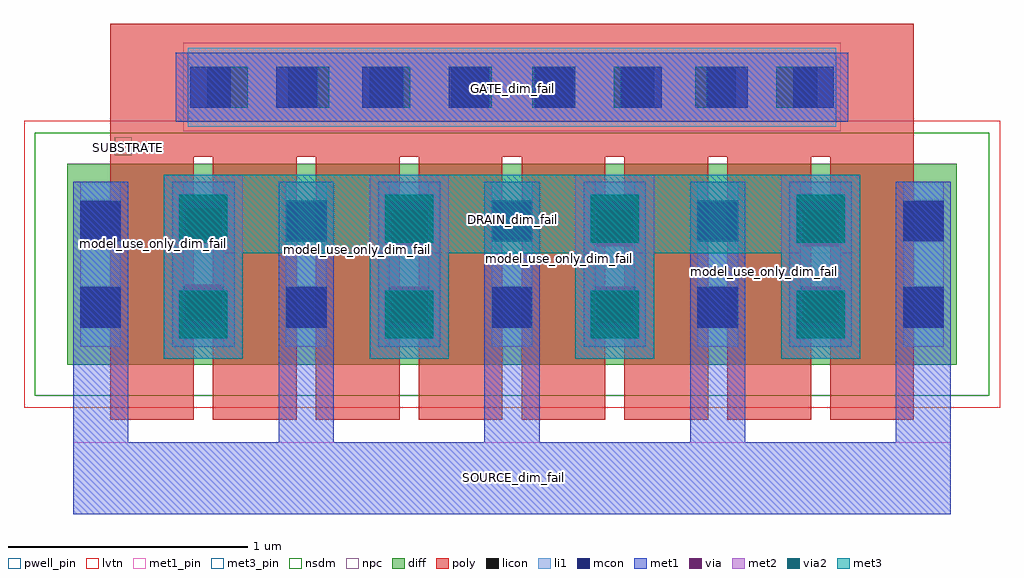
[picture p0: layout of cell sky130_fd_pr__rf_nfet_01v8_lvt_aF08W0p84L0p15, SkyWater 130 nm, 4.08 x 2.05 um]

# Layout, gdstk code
import gdstk
lib = gdstk.Library(unit=1e-6, precision=1e-09)
def R(c, l, rs):  # rectangles x0, y0, x1, y1
    for r in rs: c.add(gdstk.rectangle(r[:2], r[2:], *l))
def A(c, l, x, y, w, h, nx, ny, dx, dy):  # array of equal rectangles
    R(c, l, [(x+i*dx, y+j*dy, x+i*dx+w, y+j*dy+h) for i in range(nx) for j in range(ny)])
def P(c, l, *ps):  # polygons
    for p in ps: c.add(gdstk.Polygon(p, *l))
diff = (65, 20)
poly = (66, 20)
licon = (66, 44)
li1 = (67, 20)
mcon = (67, 44)
met1_pin = (68, 16)
met1 = (68, 20)
via = (68, 44)
met2 = (69, 20)
via2 = (69, 44)
met3_pin = (70, 16)
met3 = (70, 20)
nsdm = (93, 44)
npc = (95, 20)
pwell_pin = (122, 16)
lvtn = (125, 44)

sky130_fd_pr__rf_nfet_01 = lib.new_cell('sky130_fd_pr__rf_nfet_01v8_lvt_aF08W0p84L0p15')
A(sky130_fd_pr__rf_nfet_01, diff, 0.18, 0.18, 0.28, 0.84, 3, 1, 0.43, 0)
A(sky130_fd_pr__rf_nfet_01, diff, 0.21, 0.18, 0.25, 0.84, 4, 1, 0.86, 0)
A(sky130_fd_pr__rf_nfet_01, diff, 0.46, 0.18, 0.15, 0.84, 8, 1, 0.43, 0)
A(sky130_fd_pr__rf_nfet_01, diff, 1.04, 0.18, 0.28, 0.84, 3, 1, 0.43, 0)
A(sky130_fd_pr__rf_nfet_01, diff, 1.9, 0.18, 0.28, 0.84, 3, 1, 0.43, 0)
A(sky130_fd_pr__rf_nfet_01, diff, 2.76, 0.18, 0.28, 0.84, 3, 1, 0.43, 0)
R(sky130_fd_pr__rf_nfet_01, diff, [(3.62,0.18,3.9,1.02), (3.62,0.18,3.87,1.02), (3.65,0.18,3.9,1.02)])
P(sky130_fd_pr__rf_nfet_01, poly, [(0.36,-0.05),(0.36,1.605),(3.72,1.605),(3.72,-0.05),(3.37,-0.05),(3.37,1.05),(3.29,1.05),(3.29,-0.05),(2.94,-0.05),(2.94,1.05),(2.86,1.05),(2.86,-0.05),(2.51,-0.05),(2.51,1.05),(2.43,1.05),(2.43,-0.05),(2.08,-0.05),(2.08,1.05),(2,1.05),(2,-0.05),(1.65,-0.05),(1.65,1.05),(1.57,1.05),(1.57,-0.05),(1.22,-0.05),(1.22,1.05),(1.14,1.05),(1.14,-0.05),(0.79,-0.05),(0.79,1.05),(0.71,1.05),(0.71,-0.05)])
A(sky130_fd_pr__rf_nfet_01, licon, 0.235, 0.335, 0.17, 0.17, 9, 2, 0.43, 0.36)
A(sky130_fd_pr__rf_nfet_01, licon, 0.765, 1.255, 0.17, 0.17, 8, 1, 0.34, 0)
A(sky130_fd_pr__rf_nfet_01, li1, 0.235, 0.255, 0.17, 0.69, 9, 1, 0.43, 0)
R(sky130_fd_pr__rf_nfet_01, li1, [(0.685,1.175,3.395,1.505), (0.695,1.255,3.385,1.425)])
A(sky130_fd_pr__rf_nfet_01, mcon, 0.235, 0.335, 0.17, 0.17, 9, 2, 0.43, 0.36)
A(sky130_fd_pr__rf_nfet_01, mcon, 0.695, 1.255, 0.17, 0.17, 8, 1, 0.36, 0)
R(sky130_fd_pr__rf_nfet_01, met1_pin, [(0.205,-0.445,3.875,-0.145), (0.635,1.195,3.445,1.485)])
A(sky130_fd_pr__rf_nfet_01, met1, 0.62, 0.275, 0.26, 0.65, 4, 1, 0.86, 0)
R(sky130_fd_pr__rf_nfet_01, met1, [(0.635,1.195,3.445,1.485)])
A(sky130_fd_pr__rf_nfet_01, via, 1.535, 0.355, 0.15, 0.15, 3, 2, 0.86, 0.32)
R(sky130_fd_pr__rf_nfet_01, via, [(0.675,0.365,0.825,0.515), (0.675,0.685,0.825,0.835)])
A(sky130_fd_pr__rf_nfet_01, met2, 0.585, 0.205, 0.33, 0.77, 4, 1, 0.86, 0)
A(sky130_fd_pr__rf_nfet_01, met2, 0.62, 0.27, 0.26, 0.64, 4, 1, 0.86, 0)
A(sky130_fd_pr__rf_nfet_01, via2, 0.65, 0.29, 0.2, 0.2, 4, 2, 0.86, 0.4)
R(sky130_fd_pr__rf_nfet_01, met3_pin, [(0.585,0.645,3.495,0.975)])
A(sky130_fd_pr__rf_nfet_01, met3, 0.585, 0.205, 0.33, 0.77, 4, 1, 0.86, 0)
A(sky130_fd_pr__rf_nfet_01, nsdm, 0.21, 0.05, 0.4, 1.1, 7, 1, 0.43, 0)
A(sky130_fd_pr__rf_nfet_01, nsdm, 0.48, 0.05, 0.54, 1.1, 7, 1, 0.43, 0)
R(sky130_fd_pr__rf_nfet_01, nsdm, [(0.045,0.05,0.59,1.15), (3.22,0.05,3.87,1.15), (3.49,0.05,4.035,1.15)])
R(sky130_fd_pr__rf_nfet_01, npc, [(0.665,1.155,3.415,1.525)])
R(sky130_fd_pr__rf_nfet_01, pwell_pin, [(0.38,1.055,0.45,1.13)])
R(sky130_fd_pr__rf_nfet_01, lvtn, [(0,0,4.08,1.2)])
sky130_fd_pr__rf_nfet_01.add(gdstk.FlexPath([(0.585,0.81),(3.495,0.81)], 0.33, ends="flush", simple_path=True, layer=70, datatype=20))  # met3
sky130_fd_pr__rf_nfet_01.add(gdstk.FlexPath([(2.9,0.945),(2.9,-0.445)], 0.23, ends="flush", simple_path=True, layer=68, datatype=20))  # met1
sky130_fd_pr__rf_nfet_01.add(gdstk.FlexPath([(3.76,0.945),(3.76,-0.445)], 0.23, ends="flush", simple_path=True, layer=68, datatype=20))  # met1
sky130_fd_pr__rf_nfet_01.add(gdstk.FlexPath([(2.04,0.945),(2.04,-0.445)], 0.23, ends="flush", simple_path=True, layer=68, datatype=20))  # met1
sky130_fd_pr__rf_nfet_01.add(gdstk.FlexPath([(0.205,-0.295),(3.875,-0.295)], 0.3, ends="flush", simple_path=True, layer=68, datatype=20))  # met1
sky130_fd_pr__rf_nfet_01.add(gdstk.FlexPath([(1.18,0.945),(1.18,-0.445)], 0.23, ends="flush", simple_path=True, layer=68, datatype=20))  # met1
sky130_fd_pr__rf_nfet_01.add(gdstk.FlexPath([(3.33,0.945),(3.33,0.255)], 0.26, ends="flush", simple_path=True, layer=68, datatype=20))  # met1
sky130_fd_pr__rf_nfet_01.add(gdstk.FlexPath([(2.47,0.945),(2.47,0.255)], 0.26, ends="flush", simple_path=True, layer=68, datatype=20))  # met1
sky130_fd_pr__rf_nfet_01.add(gdstk.FlexPath([(1.61,0.945),(1.61,0.255)], 0.26, ends="flush", simple_path=True, layer=68, datatype=20))  # met1
sky130_fd_pr__rf_nfet_01.add(gdstk.FlexPath([(0.75,0.945),(0.75,0.255)], 0.26, ends="flush", simple_path=True, layer=68, datatype=20))  # met1
sky130_fd_pr__rf_nfet_01.add(gdstk.FlexPath([(0.32,0.945),(0.32,-0.445)], 0.23, ends="flush", simple_path=True, layer=68, datatype=20))  # met1
sky130_fd_pr__rf_nfet_01.add(gdstk.Label('model_use_only_dim_fail', (0.54,0.685), layer=66, texttype=83))
sky130_fd_pr__rf_nfet_01.add(gdstk.Label('model_use_only_dim_fail', (0.97,0.67), layer=66, texttype=83))
sky130_fd_pr__rf_nfet_01.add(gdstk.Label('model_use_only_dim_fail', (1.395,0.66), layer=66, texttype=83))
sky130_fd_pr__rf_nfet_01.add(gdstk.Label('model_use_only_dim_fail', (1.825,0.645), layer=66, texttype=83))
sky130_fd_pr__rf_nfet_01.add(gdstk.Label('model_use_only_dim_fail', (2.24,0.625), layer=66, texttype=83))
sky130_fd_pr__rf_nfet_01.add(gdstk.Label('model_use_only_dim_fail', (2.695,0.6), layer=66, texttype=83))
sky130_fd_pr__rf_nfet_01.add(gdstk.Label('model_use_only_dim_fail', (3.095,0.57), layer=66, texttype=83))
sky130_fd_pr__rf_nfet_01.add(gdstk.Label('model_use_only_dim_fail', (3.535,0.57), layer=66, texttype=83))
sky130_fd_pr__rf_nfet_01.add(gdstk.Label('DRAIN_dim_fail', (2.04,0.785), layer=70, texttype=16))
sky130_fd_pr__rf_nfet_01.add(gdstk.Label('GATE_dim_fail', (2.04,1.335), layer=68, texttype=16))
sky130_fd_pr__rf_nfet_01.add(gdstk.Label('SOURCE_dim_fail', (2.045,-0.29), layer=68, texttype=16))
sky130_fd_pr__rf_nfet_01.add(gdstk.Label('SUBSTRATE', (0.435,1.09), layer=64, texttype=59))

lib.write_gds('sky130_fd_pr__rf_nfet_01v8_lvt_aF08W0p84L0p15.gds')
